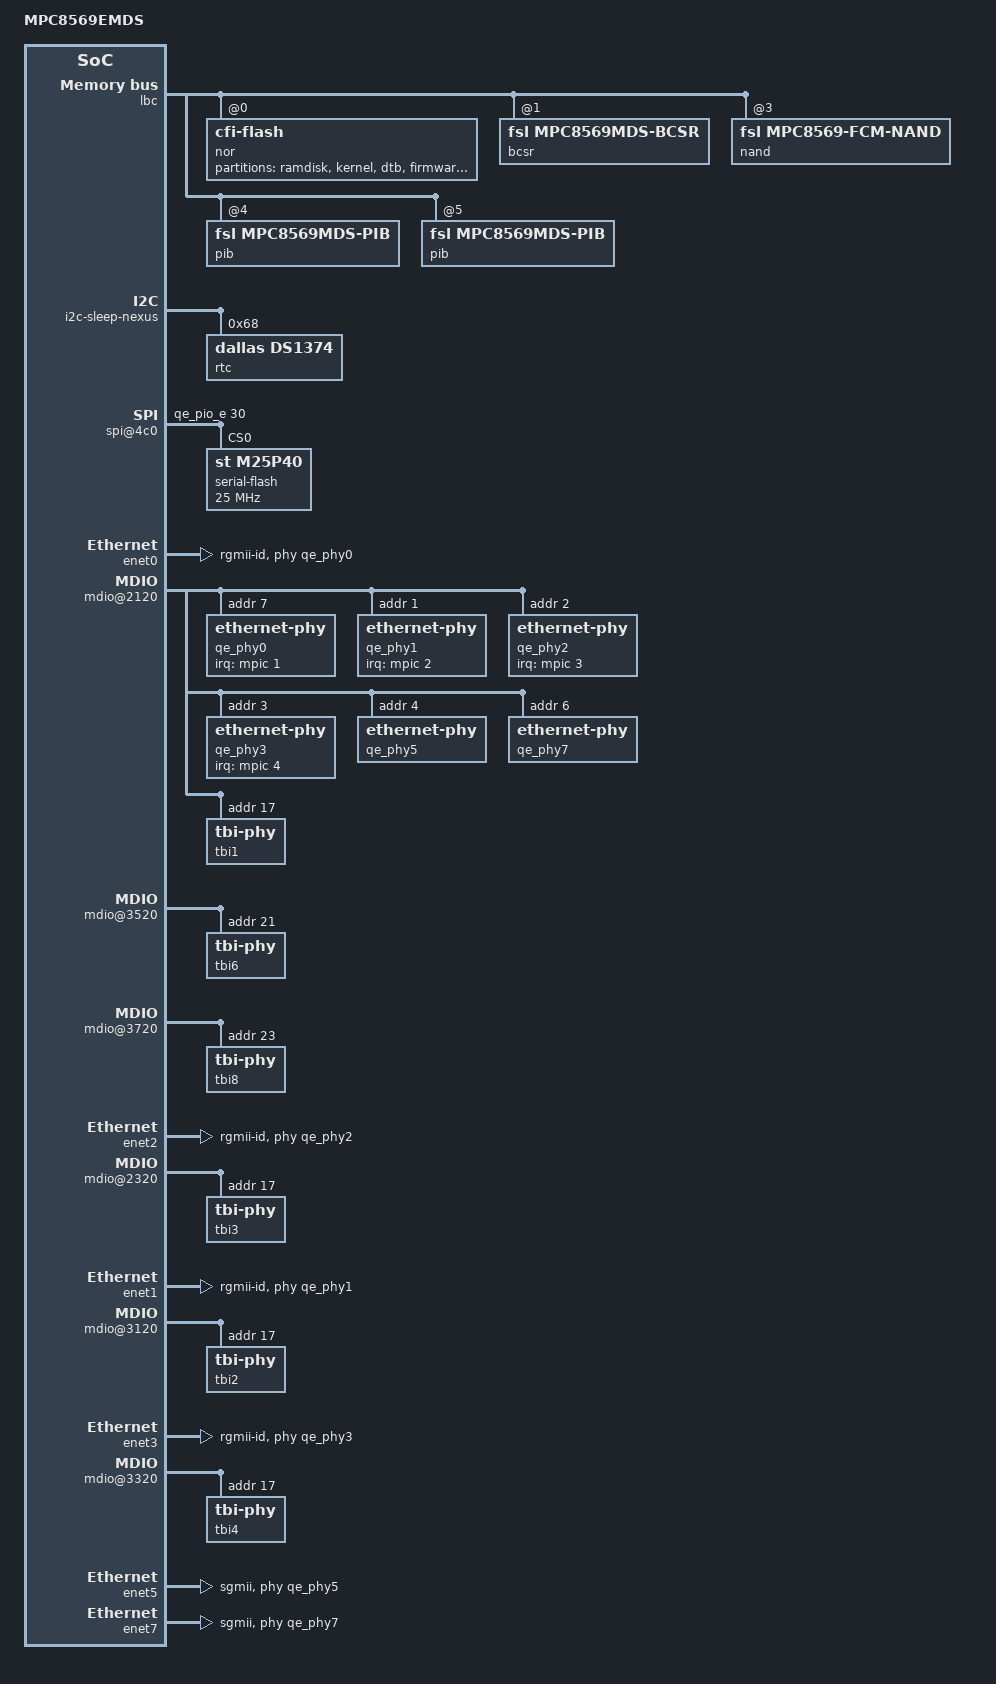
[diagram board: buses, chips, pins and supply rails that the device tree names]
/*
 * MPC8569E MDS Device Tree Source
 *
 * Copyright (C) 2009 Freescale Semiconductor Inc.
 *
 * This program is free software; you can redistribute  it and/or modify it
 * under  the terms of  the GNU General  Public License as published by the
 * Free Software Foundation;  either version 2 of the  License, or (at your
 * option) any later version.
 */

/include/ "mpc8569si-pre.dtsi"

/ {
	model = "MPC8569EMDS";
	compatible = "fsl,MPC8569EMDS";
	#address-cells = <2>;
	#size-cells = <2>;
	interrupt-parent = <&mpic>;

	aliases {
		ethernet2 = &enet2;
		ethernet3 = &enet3;
		ethernet5 = &enet5;
		ethernet7 = &enet7;
		rapidio0 = &rio;
	};

	memory {
		device_type = "memory";
	};

	lbc: localbus@e0005000 {
		reg = <0x0 0xe0005000 0x0 0x1000>;

		ranges = <0x0 0x0 0x0 0xfe000000 0x02000000
			  0x1 0x0 0x0 0xf8000000 0x00008000
			  0x2 0x0 0x0 0xf0000000 0x04000000
			  0x3 0x0 0x0 0xfc000000 0x00008000
			  0x4 0x0 0x0 0xf8008000 0x00008000
			  0x5 0x0 0x0 0xf8010000 0x00008000>;

		nor@0,0 {
			#address-cells = <1>;
			#size-cells = <1>;
			compatible = "cfi-flash";
			reg = <0x0 0x0 0x02000000>;
			bank-width = <1>;
			device-width = <1>;
			partition@0 {
				label = "ramdisk";
				reg = <0x00000000 0x01c00000>;
			};
			partition@1c00000 {
				label = "kernel";
				reg = <0x01c00000 0x002e0000>;
			};
			partition@1ee0000 {
				label = "dtb";
				reg = <0x01ee0000 0x00020000>;
			};
			partition@1f00000 {
				label = "firmware";
				reg = <0x01f00000 0x00080000>;
				read-only;
			};
			partition@1f80000 {
				label = "u-boot";
				reg = <0x01f80000 0x00080000>;
				read-only;
			};
		};

		bcsr@1,0 {
			#address-cells = <1>;
			#size-cells = <1>;
			compatible = "fsl,mpc8569mds-bcsr";
			reg = <1 0 0x8000>;
			ranges = <0 1 0 0x8000>;

			bcsr17: gpio-controller@11 {
				#gpio-cells = <2>;
				compatible = "fsl,mpc8569mds-bcsr-gpio";
				reg = <0x11 0x1>;
				gpio-controller;
			};
		};

		nand@3,0 {
			compatible = "fsl,mpc8569-fcm-nand",
				     "fsl,elbc-fcm-nand";
			reg = <3 0 0x8000>;
		};

		pib@4,0 {
			compatible = "fsl,mpc8569mds-pib";
			reg = <4 0 0x8000>;
		};

		pib@5,0 {
			compatible = "fsl,mpc8569mds-pib";
			reg = <5 0 0x8000>;
		};
	};

	soc: soc@e0000000 {
		ranges = <0x0 0x0 0xe0000000 0x100000>;

		i2c-sleep-nexus {
			i2c@3000 {
				rtc@68 {
					compatible = "dallas,ds1374";
					reg = <0x68>;
					interrupts = <3 1 0 0>;
				};
			};
		};

		sdhc@2e000 {
			status = "disabled";
			sdhci,1-bit-only;
			bus-width = <1>;
		};

		par_io@e0100 {
			num-ports = <7>;

			qe_pio_e: gpio-controller@80 {
				#gpio-cells = <2>;
				compatible = "fsl,mpc8569-qe-pario-bank",
					     "fsl,mpc8323-qe-pario-bank";
				reg = <0x80 0x18>;
				gpio-controller;
			};

			qe_pio_f: gpio-controller@a0 {
				#gpio-cells = <2>;
				compatible = "fsl,mpc8569-qe-pario-bank",
					     "fsl,mpc8323-qe-pario-bank";
				reg = <0xa0 0x18>;
				gpio-controller;
			};

			pio1: ucc_pin@01 {
				pio-map = <
			/* port  pin  dir  open_drain  assignment  has_irq */
					0x2  0x1f 0x1  0x0  0x1  0x0	/* QE_MUX_MDC */
					0x2  0x1e 0x3  0x0  0x2  0x0	/* QE_MUX_MDIO */
					0x2  0x0b 0x2  0x0  0x1  0x0	/* CLK12*/
					0x0  0x0  0x1  0x0  0x3  0x0	/* ENET1_TXD0_SER1_TXD0 */
					0x0  0x1  0x1  0x0  0x3  0x0	/* ENET1_TXD1_SER1_TXD1 */
					0x0  0x2  0x1  0x0  0x1  0x0	/* ENET1_TXD2_SER1_TXD2 */
					0x0  0x3  0x1  0x0  0x2  0x0	/* ENET1_TXD3_SER1_TXD3 */
					0x0  0x6  0x2  0x0  0x3  0x0	/* ENET1_RXD0_SER1_RXD0	*/
					0x0  0x7  0x2  0x0  0x1  0x0	/* ENET1_RXD1_SER1_RXD1	*/
					0x0  0x8  0x2  0x0  0x2  0x0	/* ENET1_RXD2_SER1_RXD2	*/
					0x0  0x9  0x2  0x0  0x2  0x0	/* ENET1_RXD3_SER1_RXD3	*/
					0x0  0x4  0x1  0x0  0x2  0x0	/* ENET1_TX_EN_SER1_RTS_B */
					0x0  0xc  0x2  0x0  0x3  0x0	/* ENET1_RX_DV_SER1_CTS_B */
					0x2  0x8  0x2  0x0  0x1  0x0	/* ENET1_GRXCLK	*/
					0x2  0x14 0x1  0x0  0x2  0x0>;	/* ENET1_GTXCLK	*/
			};

			pio2: ucc_pin@02 {
				pio-map = <
			/* port  pin  dir  open_drain  assignment  has_irq */
					0x2  0x1f 0x1  0x0  0x1  0x0	/* QE_MUX_MDC */
					0x2  0x1e 0x3  0x0  0x2  0x0	/* QE_MUX_MDIO */
					0x2  0x10 0x2  0x0  0x3  0x0	/* CLK17 */
					0x0  0xe  0x1  0x0  0x2  0x0	/* ENET2_TXD0_SER2_TXD0 */
					0x0  0xf  0x1  0x0  0x2  0x0	/* ENET2_TXD1_SER2_TXD1 */
					0x0  0x10 0x1  0x0  0x1  0x0	/* ENET2_TXD2_SER2_TXD2 */
					0x0  0x11 0x1  0x0  0x1  0x0	/* ENET2_TXD3_SER2_TXD3 */
					0x0  0x14 0x2  0x0  0x2  0x0	/* ENET2_RXD0_SER2_RXD0	*/
					0x0  0x15 0x2  0x0  0x1  0x0	/* ENET2_RXD1_SER2_RXD1	*/
					0x0  0x16 0x2  0x0  0x1  0x0	/* ENET2_RXD2_SER2_RXD2	*/
					0x0  0x17 0x2  0x0  0x1  0x0	/* ENET2_RXD3_SER2_RXD3	*/
					0x0  0x12 0x1  0x0  0x2  0x0	/* ENET2_TX_EN_SER2_RTS_B */
					0x0  0x1a 0x2  0x0  0x3  0x0	/* ENET2_RX_DV_SER2_CTS_B */
					0x2  0x3  0x2  0x0  0x1  0x0	/* ENET2_GRXCLK	*/
					0x2  0x2 0x1  0x0  0x2  0x0>;	/* ENET2_GTXCLK	*/
			};

			pio3: ucc_pin@03 {
				pio-map = <
			/* port  pin  dir  open_drain  assignment  has_irq */
					0x2  0x1f 0x1  0x0  0x1  0x0	/* QE_MUX_MDC */
					0x2  0x1e 0x3  0x0  0x2  0x0	/* QE_MUX_MDIO */
					0x2  0x0b 0x2  0x0  0x1  0x0	/* CLK12*/
					0x0  0x1d 0x1  0x0  0x2  0x0	/* ENET3_TXD0_SER3_TXD0 */
					0x0  0x1e 0x1  0x0  0x3  0x0	/* ENET3_TXD1_SER3_TXD1 */
					0x0  0x1f 0x1  0x0  0x2  0x0	/* ENET3_TXD2_SER3_TXD2 */
					0x1  0x0  0x1  0x0  0x3  0x0	/* ENET3_TXD3_SER3_TXD3 */
					0x1  0x3  0x2  0x0  0x3  0x0	/* ENET3_RXD0_SER3_RXD0	*/
					0x1  0x4  0x2  0x0  0x1  0x0	/* ENET3_RXD1_SER3_RXD1	*/
					0x1  0x5  0x2  0x0  0x2  0x0	/* ENET3_RXD2_SER3_RXD2	*/
					0x1  0x6  0x2  0x0  0x3  0x0	/* ENET3_RXD3_SER3_RXD3	*/
					0x1  0x1  0x1  0x0  0x1  0x0	/* ENET3_TX_EN_SER3_RTS_B */
					0x1  0x9  0x2  0x0  0x3  0x0	/* ENET3_RX_DV_SER3_CTS_B */
					0x2  0x9  0x2  0x0  0x2  0x0	/* ENET3_GRXCLK	*/
					0x2  0x19 0x1  0x0  0x2  0x0>;	/* ENET3_GTXCLK	*/
			};

			pio4: ucc_pin@04 {
				pio-map = <
			/* port  pin  dir  open_drain  assignment  has_irq */
					0x2  0x1f 0x1  0x0  0x1  0x0	/* QE_MUX_MDC */
					0x2  0x1e 0x3  0x0  0x2  0x0	/* QE_MUX_MDIO */
					0x2  0x10 0x2  0x0  0x3  0x0	/* CLK17 */
					0x1  0xc  0x1  0x0  0x2  0x0	/* ENET4_TXD0_SER4_TXD0 */
					0x1  0xd  0x1  0x0  0x2  0x0	/* ENET4_TXD1_SER4_TXD1 */
					0x1  0xe  0x1  0x0  0x1  0x0	/* ENET4_TXD2_SER4_TXD2 */
					0x1  0xf  0x1  0x0  0x2  0x0	/* ENET4_TXD3_SER4_TXD3 */
					0x1  0x12 0x2  0x0  0x2  0x0	/* ENET4_RXD0_SER4_RXD0	*/
					0x1  0x13 0x2  0x0  0x1  0x0	/* ENET4_RXD1_SER4_RXD1	*/
					0x1  0x14 0x2  0x0  0x1  0x0	/* ENET4_RXD2_SER4_RXD2	*/
					0x1  0x15 0x2  0x0  0x2  0x0	/* ENET4_RXD3_SER4_RXD3	*/
					0x1  0x10 0x1  0x0  0x2  0x0	/* ENET4_TX_EN_SER4_RTS_B */
					0x1  0x18 0x2  0x0  0x3  0x0	/* ENET4_RX_DV_SER4_CTS_B */
					0x2  0x11 0x2  0x0  0x2  0x0	/* ENET4_GRXCLK	*/
					0x2  0x18 0x1  0x0  0x2  0x0>;	/* ENET4_GTXCLK	*/
			};
		};
	};

	qe: qe@e0080000 {
		ranges = <0x0 0x0 0xe0080000 0x40000>;
		reg = <0x0 0xe0080000 0x0 0x480>;

		spi@4c0 {
			gpios = <&qe_pio_e 30 0>;
			mode = "cpu-qe";

			serial-flash@0 {
				compatible = "st,m25p40";
				reg = <0>;
				spi-max-frequency = <25000000>;
			};
		};

		spi@500 {
			mode = "cpu";
		};

		usb@6c0 {
			fsl,fullspeed-clock = "clk5";
			fsl,lowspeed-clock = "brg10";
			gpios = <&qe_pio_f 3 0   /* USBOE */
				 &qe_pio_f 4 0   /* USBTP */
				 &qe_pio_f 5 0   /* USBTN */
				 &qe_pio_f 6 0   /* USBRP */
				 &qe_pio_f 8 0   /* USBRN */
				 &bcsr17   1 0   /* SPEED */
				 &bcsr17   2 0>; /* POWER */
		};

		enet0: ucc@2000 {
			device_type = "network";
			compatible = "ucc_geth";
			local-mac-address = [ 00 00 00 00 00 00 ];
			rx-clock-name = "none";
			tx-clock-name = "clk12";
			pio-handle = <&pio1>;
			tbi-handle = <&tbi1>;
			phy-handle = <&qe_phy0>;
			phy-connection-type = "rgmii-id";
		};

		mdio@2120 {
			#address-cells = <1>;
			#size-cells = <0>;
			reg = <0x2120 0x18>;
			compatible = "fsl,ucc-mdio";

			qe_phy0: ethernet-phy@07 {
				interrupt-parent = <&mpic>;
				interrupts = <1 1 0 0>;
				reg = <0x7>;
			};
			qe_phy1: ethernet-phy@01 {
				interrupt-parent = <&mpic>;
				interrupts = <2 1 0 0>;
				reg = <0x1>;
			};
			qe_phy2: ethernet-phy@02 {
				interrupt-parent = <&mpic>;
				interrupts = <3 1 0 0>;
				reg = <0x2>;
			};
			qe_phy3: ethernet-phy@03 {
				interrupt-parent = <&mpic>;
				interrupts = <4 1 0 0>;
				reg = <0x3>;
			};
			qe_phy5: ethernet-phy@04 {
				reg = <0x04>;
			};
			qe_phy7: ethernet-phy@06 {
				reg = <0x6>;
			};
			tbi1: tbi-phy@11 {
				reg = <0x11>;
				device_type = "tbi-phy";
			};
		};
		mdio@3520 {
			#address-cells = <1>;
			#size-cells = <0>;
			reg = <0x3520 0x18>;
			compatible = "fsl,ucc-mdio";

			tbi6: tbi-phy@15 {
			reg = <0x15>;
			device_type = "tbi-phy";
			};
		};
		mdio@3720 {
			#address-cells = <1>;
			#size-cells = <0>;
			reg = <0x3720 0x38>;
			compatible = "fsl,ucc-mdio";
			tbi8: tbi-phy@17 {
				reg = <0x17>;
				device_type = "tbi-phy";
			};
		};

		enet2: ucc@2200 {
			device_type = "network";
			compatible = "ucc_geth";
			local-mac-address = [ 00 00 00 00 00 00 ];
			rx-clock-name = "none";
			tx-clock-name = "clk12";
			pio-handle = <&pio3>;
			tbi-handle = <&tbi3>;
			phy-handle = <&qe_phy2>;
			phy-connection-type = "rgmii-id";
		};

		mdio@2320 {
			#address-cells = <1>;
			#size-cells = <0>;
			reg = <0x2320 0x18>;
			compatible = "fsl,ucc-mdio";
			tbi3: tbi-phy@11 {
				reg = <0x11>;
				device_type = "tbi-phy";
			};
		};

		enet1: ucc@3000 {
			device_type = "network";
			compatible = "ucc_geth";
			local-mac-address = [ 00 00 00 00 00 00 ];
			rx-clock-name = "none";
			tx-clock-name = "clk17";
			pio-handle = <&pio2>;
			tbi-handle = <&tbi2>;
			phy-handle = <&qe_phy1>;
			phy-connection-type = "rgmii-id";
		};

		mdio@3120 {
			#address-cells = <1>;
			#size-cells = <0>;
			reg = <0x3120 0x18>;
			compatible = "fsl,ucc-mdio";
			tbi2: tbi-phy@11 {
				reg = <0x11>;
				device_type = "tbi-phy";
			};
		};

		enet3: ucc@3200 {
			device_type = "network";
			compatible = "ucc_geth";
			local-mac-address = [ 00 00 00 00 00 00 ];
			rx-clock-name = "none";
			tx-clock-name = "clk17";
			pio-handle = <&pio4>;
			tbi-handle = <&tbi4>;
			phy-handle = <&qe_phy3>;
			phy-connection-type = "rgmii-id";
		};

		mdio@3320 {
			#address-cells = <1>;
			#size-cells = <0>;
			reg = <0x3320 0x18>;
			compatible = "fsl,ucc-mdio";
			tbi4: tbi-phy@11 {
				reg = <0x11>;
				device_type = "tbi-phy";
			};
		};

		enet5: ucc@3400 {
			device_type = "network";
			compatible = "ucc_geth";
			local-mac-address = [ 00 00 00 00 00 00 ];
			rx-clock-name = "none";
			tx-clock-name = "none";
			tbi-handle = <&tbi6>;
			phy-handle = <&qe_phy5>;
			phy-connection-type = "sgmii";
		};

		enet7: ucc@3600 {
			device_type = "network";
			compatible = "ucc_geth";
			local-mac-address = [ 00 00 00 00 00 00 ];
			rx-clock-name = "none";
			tx-clock-name = "none";
			tbi-handle = <&tbi8>;
			phy-handle = <&qe_phy7>;
			phy-connection-type = "sgmii";
		};
	};

	/* PCI Express */
	pci1: pcie@e000a000 {
		reg = <0x0 0xe000a000 0x0 0x1000>;
		ranges = <0x2000000 0x0 0xa0000000 0 0xa0000000 0x0 0x10000000
			  0x1000000 0x0 0x00000000 0 0xe2800000 0x0 0x00800000>;
		pcie@0 {
			ranges = <0x2000000 0x0 0xa0000000
				  0x2000000 0x0 0xa0000000
				  0x0 0x10000000

				  0x1000000 0x0 0x0
				  0x1000000 0x0 0x0
				  0x0 0x800000>;
		};
	};

	rio: rapidio@e00c00000 {
		reg = <0x0 0xe00c0000 0x0 0x20000>;
		port1 {
			ranges = <0x0 0x0 0x0 0xc0000000 0x0 0x20000000>;
		};
		port2 {
			status = "disabled";
		};
	};
};

/include/ "mpc8569si-post.dtsi"
